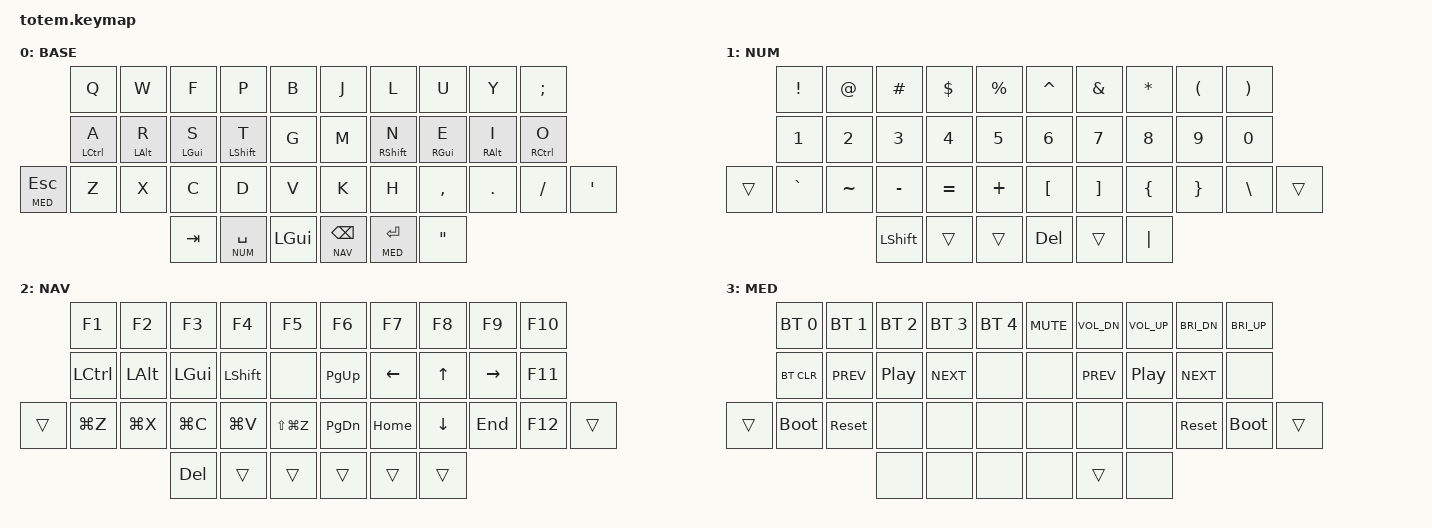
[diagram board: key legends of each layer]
//
//                                                        ▀▀▀▀▀     ▀▀▀▀▀          ▀▀█▀▀
//                                                        ▄▀▀▀▄  ▄  ▄▀▀▀▄  ▄  ▄▀▀▀▄  █  ▄▀▀▀▄
//                                                        █   █  █  █   █  █  █   █  █  █   █
//                                                         ▀▀▀   █   ▀▀▀   █   ▀▀▀   ▀   ▀▀▀
//                                                               █      ▄▄▄█▄▄▄    █   █  
//                                                               ▀      █  █  █     █▄█
//                                                             ▀▀▀▀▀    █  █  █      ▀
//                                                                      ▀  ▀  ▀
//
// Colemak-DHm Layout for Mac
// ▄▄▄▄▄▄▄▄▄▄▄▄▄▄▄▄▄▄▄▄▄▄▄▄▄▄▄▄▄▄▄▄▄▄▄▄▄▄▄▄▄▄▄▄▄▄▄▄▄▄▄▄▄▄▄▄▄▄▄▄▄▄▄▄▄▄▄▄▄▄▄▄▄▄▄▄▄▄▄▄▄▄▄▄▄▄▄▄▄▄▄▄▄▄▄▄▄▄▄▄▄▄▄▄▄▄▄▄▄▄▄▄▄▄▄▄▄▄▄▄▄▄▄▄▄▄▄▄▄▄▄▄▄▄▄▄▄▄▄▄▄▄▄▄▄▄▄▄▄

#include <behaviors.dtsi>
#include <dt-bindings/zmk/keys.h>
#include <dt-bindings/zmk/bt.h>
#include <dt-bindings/zmk/outputs.h>

#define BASE 0
#define NUM  1
#define NAV  2
#define MED  3

/ {
    behaviors {
        hm: homerow_mods {
            compatible = "zmk,behavior-hold-tap";
            label = "HOMEROW_MODS";
            #binding-cells = <2>;
            tapping-term-ms = <280>;
            quick-tap-ms = <175>;
            require-prior-idle-ms = <150>;
            flavor = "balanced";
            bindings = <&kp>, <&kp>;
        };
    };

    keymap {
        compatible = "zmk,keymap";

// ▄▄▄▄▄▄▄▄▄▄▄▄▄▄▄▄▄▄▄▄▄▄▄▄▄▄▄▄▄▄▄▄▄▄▄▄▄▄▄▄▄▄▄▄▄▄▄▄▄▄▄▄▄▄▄▄▄▄▄▄▄▄▄▄▄▄▄▄▄▄▄▄▄▄▄▄▄▄▄▄▄▄▄▄▄▄▄▄▄▄▄▄▄▄▄▄▄▄▄▄▄▄▄▄▄▄▄▄▄▄▄▄▄▄▄▄▄▄▄▄▄▄▄▄▄▄▄▄▄▄▄▄▄▄▄▄▄▄▄▄▄▄▄▄▄▄▄▄▄

        base_layer {
// ┏━━━━━━━━━━━━━━━━━━━━━━━━━━━━━━━━━━━━━━━┓
label= "BASE"                              ;
// ┗━━━━━━━━━━━━━━━━━━━━━━━━━━━━━━━━━━━━━━━┛
//             ┏━━━━━━━━━━━┳━━━━━━━━━━━┳━━━━━━━━━━━┳━━━━━━━━━━━┳━━━━━━━━━━━┓   ┏━━━━━━━━━━━┳━━━━━━━━━━━┳━━━━━━━━━━━┳━━━━━━━━━━━┳━━━━━━━━━━━┓
//             ┃     Q     ┃     W     ┃     F     ┃     P     ┃     B     ┃   ┃     J     ┃     L     ┃     U     ┃     Y     ┃     ;     ┃
//             ┣━━━━━━━━━━━╋━━━━━━━━━━━╋━━━━━━━━━━━╋━━━━━━━━━━━╋━━━━━━━━━━━┫   ┣━━━━━━━━━━━╋━━━━━━━━━━━╋━━━━━━━━━━━╋━━━━━━━━━━━╋━━━━━━━━━━━┫
//             ┃  A CTRL   ┃  R OPT    ┃  S CMD    ┃  T SHFT   ┃     G     ┃   ┃     M     ┃  N SHFT   ┃  E CMD    ┃  I OPT    ┃  O CTRL   ┃
// ┏━━━━━━━━━━━╋━━━━━━━━━━━╋━━━━━━━━━━━╋━━━━━━━━━━━╋━━━━━━━━━━━╋━━━━━━━━━━━┫   ┣━━━━━━━━━━━╋━━━━━━━━━━━╋━━━━━━━━━━━╋━━━━━━━━━━━╋━━━━━━━━━━━╋━━━━━━━━━━━┓
// ┃  ESC MED  ┃     Z     ┃     X     ┃     C     ┃     D     ┃     V     ┃   ┃     K     ┃     H     ┃     ,     ┃     .     ┃     /     ┃     '     ┃
// ┗━━━━━━━━━━━┻━━━━━━━━━━━┻━━━━━━━━━━━╋━━━━━━━━━━━╋━━━━━━━━━━━╋━━━━━━━━━━━┫   ┣━━━━━━━━━━━╋━━━━━━━━━━━╋━━━━━━━━━━━╋━━━━━━━━━━━┻━━━━━━━━━━━┻━━━━━━━━━━━┛
//                                     ┃    TAB    ┃  SPC NUM  ┃    CMD    ┃   ┃ BSPC NAV  ┃  ENT MED  ┃     "     ┃
//                                     ┗━━━━━━━━━━━┻━━━━━━━━━━━┻━━━━━━━━━━━┛   ┗━━━━━━━━━━━┻━━━━━━━━━━━┻━━━━━━━━━━━┛
 bindings = <

                &kp Q       &kp W       &kp F       &kp P       &kp B           &kp J       &kp L       &kp U       &kp Y       &kp SEMI
                &hm LCTRL A &hm LALT R  &hm LGUI S  &hm LSHFT T &kp G           &kp M       &hm RSHFT N &hm RGUI E  &hm RALT I  &hm RCTRL O
    &lt MED ESC &kp Z       &kp X       &kp C       &kp D       &kp V           &kp K       &kp H       &kp COMMA   &kp DOT     &kp FSLH    &kp SQT
                                        &kp TAB     &lt NUM SPACE &kp LGUI      &lt NAV BSPC &lt MED RET &kp DQT
                        >;
                };

// ▄▄▄▄▄▄▄▄▄▄▄▄▄▄▄▄▄▄▄▄▄▄▄▄▄▄▄▄▄▄▄▄▄▄▄▄▄▄▄▄▄▄▄▄▄▄▄▄▄▄▄▄▄▄▄▄▄▄▄▄▄▄▄▄▄▄▄▄▄▄▄▄▄▄▄▄▄▄▄▄▄▄▄▄▄▄▄▄▄▄▄▄▄▄▄▄▄▄▄▄▄▄▄▄▄▄▄▄▄▄▄▄▄▄▄▄▄▄▄▄▄▄▄▄▄▄▄▄▄▄▄▄▄▄▄▄▄▄▄▄▄▄▄▄▄▄▄▄▄

        num_layer {
// ┏━━━━━━━━━━━━━━━━━━━━━━━━━━━━━━━━━━━━━━━┓
label= "NUM"                               ;
// ┗━━━━━━━━━━━━━━━━━━━━━━━━━━━━━━━━━━━━━━━┛
//             ┏━━━━━━━━━━━┳━━━━━━━━━━━┳━━━━━━━━━━━┳━━━━━━━━━━━┳━━━━━━━━━━━┓   ┏━━━━━━━━━━━┳━━━━━━━━━━━┳━━━━━━━━━━━┳━━━━━━━━━━━┳━━━━━━━━━━━┓
//             ┃     !     ┃     @     ┃     #     ┃     $     ┃     %     ┃   ┃     ^     ┃     &     ┃     *     ┃     (     ┃     )     ┃
//             ┣━━━━━━━━━━━╋━━━━━━━━━━━╋━━━━━━━━━━━╋━━━━━━━━━━━╋━━━━━━━━━━━┫   ┣━━━━━━━━━━━╋━━━━━━━━━━━╋━━━━━━━━━━━╋━━━━━━━━━━━╋━━━━━━━━━━━┫
//             ┃     1     ┃     2     ┃     3     ┃     4     ┃     5     ┃   ┃     6     ┃     7     ┃     8     ┃     9     ┃     0     ┃
// ┏━━━━━━━━━━━╋━━━━━━━━━━━╋━━━━━━━━━━━╋━━━━━━━━━━━╋━━━━━━━━━━━╋━━━━━━━━━━━┫   ┣━━━━━━━━━━━╋━━━━━━━━━━━╋━━━━━━━━━━━╋━━━━━━━━━━━╋━━━━━━━━━━━╋━━━━━━━━━━━┓
// ┃           ┃     `     ┃     ~     ┃     -     ┃     =     ┃     +     ┃   ┃     [     ┃     ]     ┃     {     ┃     }     ┃     \     ┃           ┃
// ┗━━━━━━━━━━━┻━━━━━━━━━━━┻━━━━━━━━━━━╋━━━━━━━━━━━╋━━━━━━━━━━━╋━━━━━━━━━━━┫   ┣━━━━━━━━━━━╋━━━━━━━━━━━╋━━━━━━━━━━━╋━━━━━━━━━━━┻━━━━━━━━━━━┻━━━━━━━━━━━┛
//                                     ┃   SHIFT   ┃    ___    ┃           ┃   ┃    DEL    ┃           ┃     |     ┃
//                                     ┗━━━━━━━━━━━┻━━━━━━━━━━━┻━━━━━━━━━━━┛   ┗━━━━━━━━━━━┻━━━━━━━━━━━┻━━━━━━━━━━━┛
 bindings = <

                &kp EXCL    &kp AT      &kp HASH    &kp DLLR    &kp PRCNT       &kp CARET   &kp AMPS    &kp STAR    &kp LPAR    &kp RPAR
                &kp N1      &kp N2      &kp N3      &kp N4      &kp N5          &kp N6      &kp N7      &kp N8      &kp N9      &kp N0
    &trans      &kp GRAVE   &kp TILDE   &kp MINUS   &kp EQUAL   &kp PLUS        &kp LBKT    &kp RBKT    &kp LBRC    &kp RBRC    &kp BSLH    &trans
                                        &kp LSHFT   &trans      &trans          &kp DEL     &trans      &kp PIPE
                        >;
                };

// ▄▄▄▄▄▄▄▄▄▄▄▄▄▄▄▄▄▄▄▄▄▄▄▄▄▄▄▄▄▄▄▄▄▄▄▄▄▄▄▄▄▄▄▄▄▄▄▄▄▄▄▄▄▄▄▄▄▄▄▄▄▄▄▄▄▄▄▄▄▄▄▄▄▄▄▄▄▄▄▄▄▄▄▄▄▄▄▄▄▄▄▄▄▄▄▄▄▄▄▄▄▄▄▄▄▄▄▄▄▄▄▄▄▄▄▄▄▄▄▄▄▄▄▄▄▄▄▄▄▄▄▄▄▄▄▄▄▄▄▄▄▄▄▄▄▄▄▄▄

        nav_layer {
// ┏━━━━━━━━━━━━━━━━━━━━━━━━━━━━━━━━━━━━━━━┓
label= "NAV"                               ;
// ┗━━━━━━━━━━━━━━━━━━━━━━━━━━━━━━━━━━━━━━━┛
//             ┏━━━━━━━━━━━┳━━━━━━━━━━━┳━━━━━━━━━━━┳━━━━━━━━━━━┳━━━━━━━━━━━┓   ┏━━━━━━━━━━━┳━━━━━━━━━━━┳━━━━━━━━━━━┳━━━━━━━━━━━┳━━━━━━━━━━━┓
//             ┃    F1     ┃    F2     ┃    F3     ┃    F4     ┃    F5     ┃   ┃    F6     ┃    F7     ┃    F8     ┃    F9     ┃    F10    ┃
//             ┣━━━━━━━━━━━╋━━━━━━━━━━━╋━━━━━━━━━━━╋━━━━━━━━━━━╋━━━━━━━━━━━┫   ┣━━━━━━━━━━━╋━━━━━━━━━━━╋━━━━━━━━━━━╋━━━━━━━━━━━╋━━━━━━━━━━━┫
//             ┃   CTRL    ┃    OPT    ┃    CMD    ┃   SHIFT   ┃           ┃   ┃   PG UP   ┃     ←     ┃     ↑     ┃     →     ┃    F11    ┃
// ┏━━━━━━━━━━━╋━━━━━━━━━━━╋━━━━━━━━━━━╋━━━━━━━━━━━╋━━━━━━━━━━━╋━━━━━━━━━━━┫   ┣━━━━━━━━━━━╋━━━━━━━━━━━╋━━━━━━━━━━━╋━━━━━━━━━━━╋━━━━━━━━━━━╋━━━━━━━━━━━┓
// ┃           ┃   UNDO    ┃    CUT    ┃   COPY    ┃   PASTE   ┃   REDO    ┃   ┃  PG DOWN  ┃   HOME    ┃     ↓     ┃    END    ┃    F12    ┃           ┃
// ┗━━━━━━━━━━━┻━━━━━━━━━━━┻━━━━━━━━━━━╋━━━━━━━━━━━╋━━━━━━━━━━━╋━━━━━━━━━━━┫   ┣━━━━━━━━━━━╋━━━━━━━━━━━╋━━━━━━━━━━━╋━━━━━━━━━━━┻━━━━━━━━━━━┻━━━━━━━━━━━┛
//                                     ┃    DEL    ┃           ┃           ┃   ┃    ___    ┃           ┃           ┃
//                                     ┗━━━━━━━━━━━┻━━━━━━━━━━━┻━━━━━━━━━━━┛   ┗━━━━━━━━━━━┻━━━━━━━━━━━┻━━━━━━━━━━━┛
 bindings = <

                &kp F1      &kp F2      &kp F3      &kp F4      &kp F5          &kp F6      &kp F7      &kp F8      &kp F9      &kp F10
                &kp LCTRL   &kp LALT    &kp LGUI    &kp LSHFT   &none           &kp PG_UP   &kp LEFT    &kp UP      &kp RIGHT   &kp F11
    &trans      &kp LG(Z)   &kp LG(X)   &kp LG(C)   &kp LG(V)   &kp LS(LG(Z))   &kp PG_DN   &kp HOME    &kp DOWN    &kp END     &kp F12     &trans
                                        &kp DEL     &trans      &trans          &trans      &trans      &trans
                        >;
                };

// ▄▄▄▄▄▄▄▄▄▄▄▄▄▄▄▄▄▄▄▄▄▄▄▄▄▄▄▄▄▄▄▄▄▄▄▄▄▄▄▄▄▄▄▄▄▄▄▄▄▄▄▄▄▄▄▄▄▄▄▄▄▄▄▄▄▄▄▄▄▄▄▄▄▄▄▄▄▄▄▄▄▄▄▄▄▄▄▄▄▄▄▄▄▄▄▄▄▄▄▄▄▄▄▄▄▄▄▄▄▄▄▄▄▄▄▄▄▄▄▄▄▄▄▄▄▄▄▄▄▄▄▄▄▄▄▄▄▄▄▄▄▄▄▄▄▄▄▄▄

        media_layer {
// ┏━━━━━━━━━━━━━━━━━━━━━━━━━━━━━━━━━━━━━━━┓
label= "MED"                               ;
// ┗━━━━━━━━━━━━━━━━━━━━━━━━━━━━━━━━━━━━━━━┛
//             ┏━━━━━━━━━━━┳━━━━━━━━━━━┳━━━━━━━━━━━┳━━━━━━━━━━━┳━━━━━━━━━━━┓   ┏━━━━━━━━━━━┳━━━━━━━━━━━┳━━━━━━━━━━━┳━━━━━━━━━━━┳━━━━━━━━━━━┓
//             ┃    BT1    ┃    BT2    ┃    BT3    ┃    BT4    ┃    BT5    ┃   ┃   MUTE    ┃   VOL-    ┃   VOL+    ┃   BRI-    ┃   BRI+    ┃
//             ┣━━━━━━━━━━━╋━━━━━━━━━━━╋━━━━━━━━━━━╋━━━━━━━━━━━╋━━━━━━━━━━━┫   ┣━━━━━━━━━━━╋━━━━━━━━━━━╋━━━━━━━━━━━╋━━━━━━━━━━━╋━━━━━━━━━━━┫
//             ┃  BT CLR   ┃   PREV    ┃   PLAY    ┃   NEXT    ┃           ┃   ┃           ┃   PREV    ┃   PLAY    ┃   NEXT    ┃           ┃
// ┏━━━━━━━━━━━╋━━━━━━━━━━━╋━━━━━━━━━━━╋━━━━━━━━━━━╋━━━━━━━━━━━╋━━━━━━━━━━━┫   ┣━━━━━━━━━━━╋━━━━━━━━━━━╋━━━━━━━━━━━╋━━━━━━━━━━━╋━━━━━━━━━━━╋━━━━━━━━━━━┓
// ┃    ___    ┃   BOOT    ┃   RESET   ┃           ┃           ┃           ┃   ┃           ┃           ┃           ┃   RESET   ┃   BOOT    ┃           ┃
// ┗━━━━━━━━━━━┻━━━━━━━━━━━┻━━━━━━━━━━━╋━━━━━━━━━━━╋━━━━━━━━━━━╋━━━━━━━━━━━┫   ┣━━━━━━━━━━━╋━━━━━━━━━━━╋━━━━━━━━━━━╋━━━━━━━━━━━┻━━━━━━━━━━━┻━━━━━━━━━━━┛
//                                     ┃           ┃           ┃           ┃   ┃           ┃    ___    ┃           ┃
//                                     ┗━━━━━━━━━━━┻━━━━━━━━━━━┻━━━━━━━━━━━┛   ┗━━━━━━━━━━━┻━━━━━━━━━━━┻━━━━━━━━━━━┛
 bindings = <

                &bt BT_SEL 0 &bt BT_SEL 1 &bt BT_SEL 2 &bt BT_SEL 3 &bt BT_SEL 4   &kp C_MUTE  &kp C_VOL_DN &kp C_VOL_UP &kp C_BRI_DN &kp C_BRI_UP
                &bt BT_CLR  &kp C_PREV  &kp C_PP    &kp C_NEXT  &none           &none       &kp C_PREV  &kp C_PP    &kp C_NEXT  &none
    &trans      &bootloader &sys_reset  &none       &none       &none           &none       &none       &none       &sys_reset  &bootloader &trans
                                        &none       &none       &none           &none       &trans      &none
                        >;
                };
        };
};
